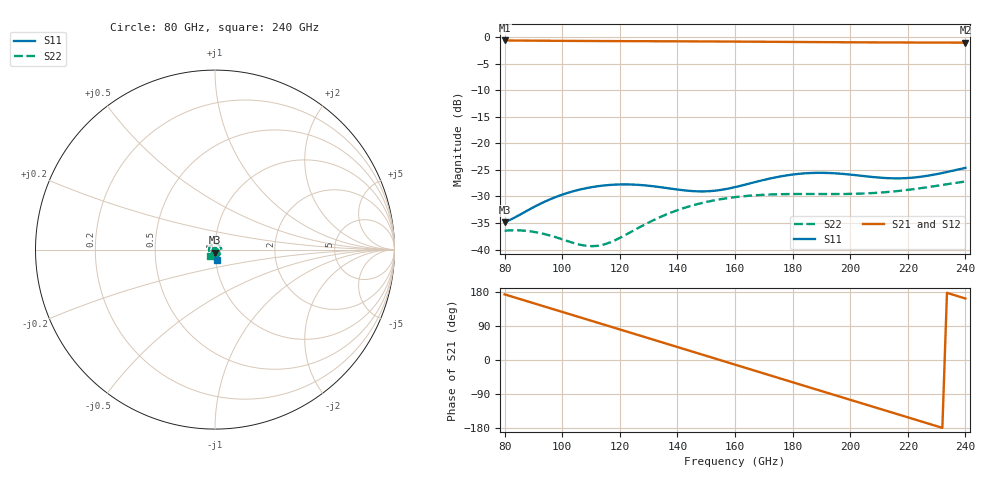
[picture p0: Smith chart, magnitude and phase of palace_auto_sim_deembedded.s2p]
! Created with skrf 1.11.0 (http://scikit-rf.org).
# GHz S DB R 50.0
!freq dBS11 angS11 dBS21 angS21 dBS12 angS12 dBS22 angS22
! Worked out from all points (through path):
!   101 points, 80 GHz to 240 GHz, reference 50 ohm
!   highest |S21| = -0.65 dB at 80 GHz (marker M1); lowest = -1.1 dB at 240 GHz (marker M2)
!   group delay of S21, straight-line fit = 6.44 ps
!   lowest |S11| = -34.9 dB at 80 GHz (marker M3), VSWR 1.04, Z = 50.2 - j1.8 ohm
!   |S11| at or under -10 dB: start of sweep to end of sweep
!   |S22| runs from -39.4 to -27.2 dB; largest |S21 - S12| = 1.1e-14
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80  -34.85 -83.9  -0.65 173.2  -0.65 173.2  -36.45 -99.6
86.4  -33.12 -74.1  -0.67 158.4  -0.67 158.4  -36.43 -117.4
92.8  -31.28 -72.3  -0.69 143.6  -0.69 143.6  -36.95 -140.0
100.8  -29.53 -75.8  -0.72 125.1  -0.72 125.1  -38.22 -176.6
107.2  -28.58 -80.5  -0.74 110.3  -0.74 110.3  -39.21 145.8
113.6  -28.00 -85.8  -0.76 95.5  -0.76 95.5  -39.17 102.5
120  -27.75 -91.0  -0.77 80.6  -0.77 80.6  -37.82 61.2
126.4  -27.83 -95.4  -0.78 65.8  -0.78 65.8  -35.94 26.2
134.4  -28.29 -98.4  -0.80 47.3  -0.80 47.3  -33.80 -10.7
147.2  -29.05 -94.3  -0.83 17.5  -0.83 17.5  -31.42 -63.3
153.6  -28.89 -89.3  -0.84 2.7  -0.84 2.7  -30.66 -88.8
160  -28.26 -85.3  -0.86 -12.2  -0.86 -12.2  -30.14 -114.5
166.4  -27.39 -83.8  -0.88 -27.1  -0.88 -27.1  -29.81 -140.7
174.4  -26.38 -85.3  -0.91 -45.7  -0.91 -45.7  -29.61 -174.3
187.2  -25.58 -91.9  -0.95 -75.4  -0.95 -75.4  -29.55 129.0
193.6  -25.62 -95.0  -0.97 -90.2  -0.97 -90.2  -29.56 99.3
200  -25.89 -96.7  -0.99 -105.0  -0.99 -105.0  -29.53 68.5
206.4  -26.27 -96.4  -1.01 -119.8  -1.01 -119.8  -29.41 37.0
214.4  -26.59 -92.9  -1.02 -138.3  -1.02 -138.3  -29.10 -3.0
227.2  -26.08 -84.7  -1.04 -168.0  -1.04 -168.0  -28.24 -66.4
233.6  -25.41 -82.0  -1.05 177.2  -1.05 177.2  -27.71 -96.9
240  -24.63 -81.1  -1.05 162.3  -1.05 162.3  -27.20 -126.5
